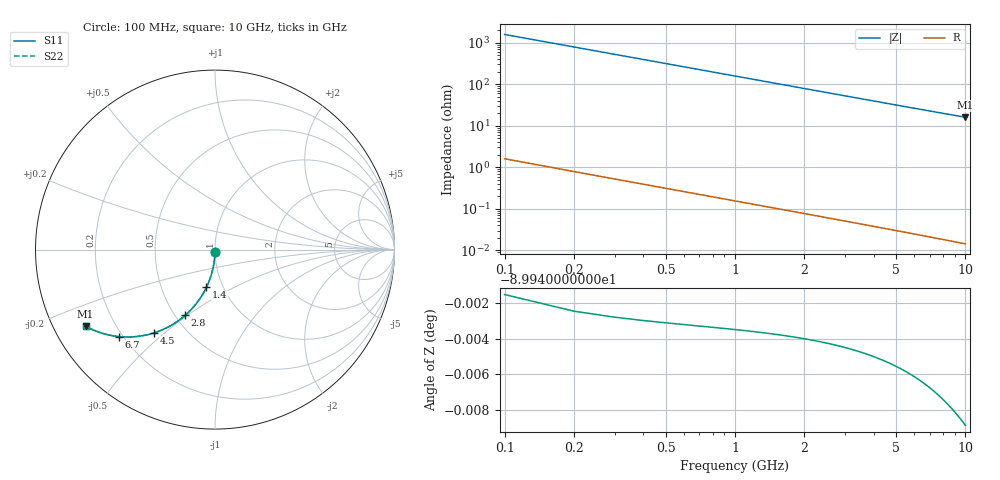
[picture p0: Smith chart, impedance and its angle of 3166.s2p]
# Hz S RI R 50.00
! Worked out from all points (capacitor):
!   100 points, 100 MHz to 10 GHz, reference 50 ohm
!   read as one part in shunt: C = 1.01 pF near 100 MHz
!   lowest |Z| = 16 ohm at 10 GHz (marker M1)
!   S11 on the Smith chart (normalised r, x): 100 MHz: 1.00, -0.03; 1.4 GHz: 0.84, -0.37; 2.8 GHz: 0.56, -0.49; 4.5 GHz: 0.33, -0.46; 6.7 GHz: 0.19, -0.37; 10 GHz: 0.09, -0.27
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1e8  -0.000207 -0.0157  0.9997 -0.0161  0.9997 -0.0161  -0.000207 -0.0157
2e8  -0.00098 -0.0314  0.9989 -0.0322  0.9989 -0.0322  -0.00098 -0.0314
3e8  -0.00225 -0.047  0.9976 -0.0482  0.9976 -0.0482  -0.00225 -0.047
4e8  -0.00403 -0.0625  0.9958 -0.0641  0.9958 -0.0641  -0.00403 -0.0625
5e8  -0.0063 -0.078  0.9936 -0.08  0.9936 -0.08  -0.0063 -0.078
6e8  -0.00905 -0.0933  0.9908 -0.0957  0.9908 -0.0957  -0.00905 -0.0933
7e8  -0.0123 -0.1085  0.9876 -0.1113  0.9876 -0.1113  -0.0123 -0.1085
9e8  -0.0201 -0.1384  0.9797 -0.142  0.9797 -0.142  -0.0201 -0.1384
1.1e9  -0.0298 -0.1675  0.9701 -0.1719  0.9701 -0.1719  -0.0298 -0.1675
1.4e9  -0.0474 -0.2093  0.9525 -0.2149  0.9525 -0.2149  -0.0474 -0.2093
1.8e9  -0.0759 -0.2609  0.9239 -0.2681  0.9239 -0.2681  -0.0759 -0.2609
2.3e9  -0.1183 -0.318  0.8815 -0.3272  0.8815 -0.3272  -0.1183 -0.318
2.8e9  -0.166 -0.366  0.8338 -0.3772  0.8338 -0.3772  -0.166 -0.366
3.4e9  -0.227 -0.4116  0.7728 -0.4253  0.7728 -0.4253  -0.227 -0.4116
3.9e9  -0.2788 -0.4401  0.7209 -0.4558  0.7209 -0.4558  -0.2788 -0.4401
4.5e9  -0.3401 -0.4642  0.6596 -0.4823  0.6596 -0.4823  -0.3401 -0.4642
5.1e9  -0.3986 -0.4788  0.6011 -0.4994  0.6011 -0.4994  -0.3986 -0.4788
5.9e9  -0.4705 -0.4867  0.5291 -0.5106  0.5291 -0.5106  -0.4705 -0.4867
6.7e9  -0.5345 -0.4846  0.4649 -0.5119  0.4649 -0.5119  -0.5345 -0.4846
7.5e9  -0.5906 -0.4758  0.4088 -0.5065  0.4088 -0.5065  -0.5906 -0.4758
8.4e9  -0.6447 -0.4607  0.3546 -0.4952  0.3546 -0.4952  -0.6447 -0.4607
1e10  -0.7211 -0.427  0.2779 -0.4684  0.2779 -0.4684  -0.7211 -0.427
